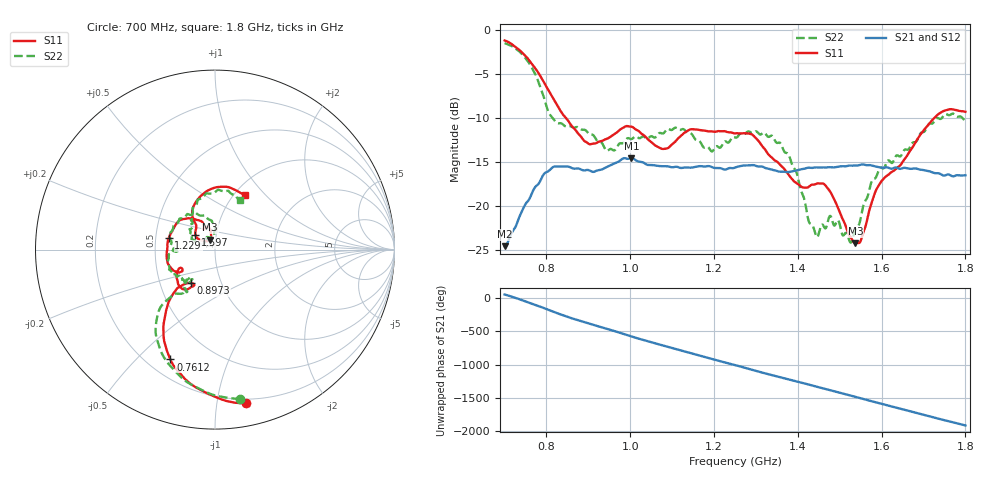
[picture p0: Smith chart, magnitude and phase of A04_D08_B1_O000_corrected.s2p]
! Created with skrf 1.9.0 (http://scikit-rf.org).
# Hz S RI R 50.0
!freq ReS11 ImS11 ReS21 ImS21 ReS12 ImS12 ReS22 ImS22
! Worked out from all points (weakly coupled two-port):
!   1601 points, 700 MHz to 1.8 GHz, reference 50 ohm
!   highest |S21| = -14.54 dB at 1.002 GHz (marker M1); lowest = -24.5 dB at 700.7 MHz (marker M2)
!   lowest |S11| = -24.2 dB at 1.537 GHz (marker M3), VSWR 1.13, Z = 47 + j5.16 ohm
!   |S11| at or under -10 dB: 846.9 MHz to 1.725 GHz (878.3 MHz wide, 68.3 % of centre)
!   |S22| runs from -24.1 to -1.5 dB; largest |S21 - S12| = 0.0037
!   S11 on the Smith chart (normalised r, x): 700 MHz: 0.17, -1.21; 761.2 MHz: 0.29, -0.63; 897.3 MHz: 0.72, -0.28; 1.229 GHz: 0.59, +0.08; 1.597 GHz: 0.79, +0.13; 1.8 GHz: 1.12, +0.77
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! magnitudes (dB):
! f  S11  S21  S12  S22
! 700 MHz  -1.2  -24.5  -24.3  -1.5
! 700.7 MHz  -1.2  -24.5  -24.2  -1.5
! 761.2 MHz  -3.6  -19.0  -18.9  -3.9
! 817.6 MHz  -7.9  -15.5  -15.6  -10.2
! 883.6 MHz  -12.2  -15.9  -15.8  -11.3
! 897.3 MHz  -12.8  -15.9  -16.0  -11.6
! 944.8 MHz  -12.3  -15.5  -15.6  -13.7
! 1.002 GHz  -11.0  -14.5  -14.6  -12.4
! 1.067 GHz  -13.3  -15.4  -15.4  -11.8
! 1.229 GHz  -11.5  -15.8  -15.7  -12.7
! 1.25 GHz  -11.7  -15.6  -15.5  -12.2
! 1.359 GHz  -15.3  -16.1  -16.1  -12.9
! 1.396 GHz  -17.3  -15.9  -15.9  -16.0
! 1.434 GHz  -17.6  -15.6  -15.6  -22.1
! 1.446 GHz  -17.4  -15.6  -15.6  -23.5
! 1.472 GHz  -18.0  -15.6  -15.6  -21.6
! 1.526 GHz  -23.5  -15.4  -15.4  -24.1
! 1.537 GHz  -24.2  -15.4  -15.4  -22.7
! 1.597 GHz  -17.3  -15.6  -15.6  -15.6
! 1.617 GHz  -16.4  -15.6  -15.6  -14.8
! 1.734 GHz  -9.6  -16.2  -16.3  -10.0
! 1.8 GHz  -9.3  -16.5  -16.5  -10.2
